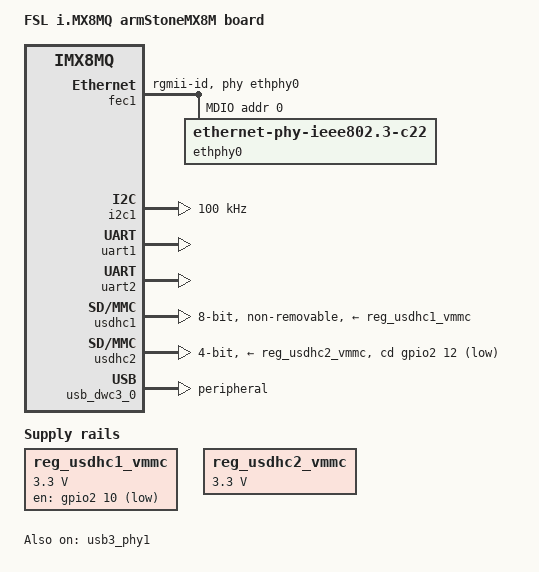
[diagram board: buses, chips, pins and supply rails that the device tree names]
/*
 * Copyright (C) 2016 Freescale Semiconductor, Inc.
 * Copyright 2017 NXP
 *
 * This program is free software; you can redistribute it and/or
 * modify it under the terms of the GNU General Public License
 * as published by the Free Software Foundation; either version 2
 * of the License, or (at your option) any later version.
 *
 * This program is distributed in the hope that it will be useful,
 * but WITHOUT ANY WARRANTY; without even the implied warranty of
 * MERCHANTABILITY or FITNESS FOR A PARTICULAR PURPOSE.  See the
 * GNU General Public License for more details.
 */

/dts-v1/;

/* First 128KB is for PSCI ATF. */
/memreserve/ 0x40000000 0x00020000;

#include "imx8mq.dtsi"

/ {
	model = "FSL i.MX8MQ armStoneMX8M board";
	compatible = "fus,armstonemx8m", "fsl,imx8mq";

	chosen {
		bootargs = "console=ttymxc1,115200 earlycon=ec_imx6q,0x30890000,115200";
		stdout-path = &uart2;
	};


		reg_usdhc1_vmmc: usdhc1_vmmc {
			compatible = "regulator-fixed";
			regulator-name = "VSD1-3V3";
			regulator-min-microvolt = <3300000>;
			regulator-max-microvolt = <3300000>;
			gpio = <&gpio2 10 GPIO_ACTIVE_HIGH>;
			regulator-always-on;
     		startup-delay-us = <100>;
	    	off-on-delay-us = <12000>;
		};

		reg_usdhc2_vmmc: usdhc2_vmmc {
			compatible = "regulator-fixed";
			regulator-name = "VSD2_3V3";
			regulator-min-microvolt = <3300000>;
			regulator-max-microvolt = <3300000>;
			enable-active-high;
     			startup-delay-us = <100>;
	    		off-on-delay-us = <12000>;
		};
};

&iomuxc {
	pinctrl-names = "default";

	armstonemx8m {
		
		/*  ENET - RGMII */
		pinctrl_fec1: fec1grp {
			fsl,pins = <
				MX8MQ_IOMUXC_ENET_MDC_ENET1_MDC		0x3
				MX8MQ_IOMUXC_ENET_MDIO_ENET1_MDIO	0x23
				MX8MQ_IOMUXC_ENET_TD3_ENET1_RGMII_TD3	0x1f
				MX8MQ_IOMUXC_ENET_TD2_ENET1_RGMII_TD2	0x1f
				MX8MQ_IOMUXC_ENET_TD1_ENET1_RGMII_TD1	0x1f
				MX8MQ_IOMUXC_ENET_TD0_ENET1_RGMII_TD0	0x1f
				MX8MQ_IOMUXC_ENET_RD3_ENET1_RGMII_RD3	0x91
				MX8MQ_IOMUXC_ENET_RD2_ENET1_RGMII_RD2	0x91
				MX8MQ_IOMUXC_ENET_RD1_ENET1_RGMII_RD1	0x91
				MX8MQ_IOMUXC_ENET_RD0_ENET1_RGMII_RD0	0x91
				MX8MQ_IOMUXC_ENET_TXC_ENET1_RGMII_TXC	0x1f
				MX8MQ_IOMUXC_ENET_RXC_ENET1_RGMII_RXC	0x91
				MX8MQ_IOMUXC_ENET_RX_CTL_ENET1_RGMII_RX_CTL	0x91
				MX8MQ_IOMUXC_ENET_TX_CTL_ENET1_RGMII_TX_CTL	0x1f
				MX8MQ_IOMUXC_GPIO1_IO02_GPIO1_IO2	0x19
				MX8MQ_IOMUXC_GPIO1_IO03_GPIO1_IO3	0x19
			>;
		};

		/* I2C1 - RTC, MIPI-DSI->LVDS, */
		pinctrl_i2c1: i2c1grp {
			fsl,pins = <
				MX8MQ_IOMUXC_I2C1_SCL_I2C1_SCL			0x4000007f
				MX8MQ_IOMUXC_I2C1_SDA_I2C1_SDA			0x4000007f
			>;
		};

		pinctrl_i2c2: i2c2grp {
			fsl,pins = <
				MX8MQ_IOMUXC_I2C2_SCL_I2C2_SCL			0x4000007f
				MX8MQ_IOMUXC_I2C2_SDA_I2C2_SDA			0x4000007f
			>;
		};

		/* UART1 on J14 connector */
		pinctrl_uart1: uart1grp {
			fsl,pins = <
				MX8MQ_IOMUXC_UART1_RXD_UART1_DCE_RX		0x79
				MX8MQ_IOMUXC_UART1_TXD_UART1_DCE_TX		0x79
			>;
		};

		pinctrl_uart2: uart2grp {
			fsl,pins = <
				MX8MQ_IOMUXC_UART2_RXD_UART2_DCE_RX		0x79
				MX8MQ_IOMUXC_UART2_TXD_UART2_DCE_TX		0x79
			>;
		};

		pinctrl_usdhc1: usdhc1grp {
			fsl,pins = <
				MX8MQ_IOMUXC_SD1_CLK_USDHC1_CLK			0x83
				MX8MQ_IOMUXC_SD1_CMD_USDHC1_CMD			0xc3
				MX8MQ_IOMUXC_SD1_DATA0_USDHC1_DATA0		0xc3
				MX8MQ_IOMUXC_SD1_DATA1_USDHC1_DATA1		0xc3
				MX8MQ_IOMUXC_SD1_DATA2_USDHC1_DATA2		0xc3
				MX8MQ_IOMUXC_SD1_DATA3_USDHC1_DATA3		0xc3
				MX8MQ_IOMUXC_SD1_DATA4_USDHC1_DATA4		0xc3
				MX8MQ_IOMUXC_SD1_DATA5_USDHC1_DATA5		0xc3
				MX8MQ_IOMUXC_SD1_DATA6_USDHC1_DATA6		0xc3
				MX8MQ_IOMUXC_SD1_DATA7_USDHC1_DATA7		0xc3
				MX8MQ_IOMUXC_SD1_STROBE_USDHC1_STROBE 		0x83
				MX8MQ_IOMUXC_SD1_RESET_B_USDHC1_RESET_B		0xc1
			>;
		};

		pinctrl_usdhc1_100mhz: usdhc1grp100mhz {
			fsl,pins = <
				MX8MQ_IOMUXC_SD1_CLK_USDHC1_CLK			0x8d
				MX8MQ_IOMUXC_SD1_CMD_USDHC1_CMD			0xcd
				MX8MQ_IOMUXC_SD1_DATA0_USDHC1_DATA0		0xcd
				MX8MQ_IOMUXC_SD1_DATA1_USDHC1_DATA1		0xcd
				MX8MQ_IOMUXC_SD1_DATA2_USDHC1_DATA2		0xcd
				MX8MQ_IOMUXC_SD1_DATA3_USDHC1_DATA3		0xcd
				MX8MQ_IOMUXC_SD1_DATA4_USDHC1_DATA4		0xcd
				MX8MQ_IOMUXC_SD1_DATA5_USDHC1_DATA5		0xcd
				MX8MQ_IOMUXC_SD1_DATA6_USDHC1_DATA6		0xcd
				MX8MQ_IOMUXC_SD1_DATA7_USDHC1_DATA7		0xcd
				MX8MQ_IOMUXC_SD1_STROBE_USDHC1_STROBE 		0x8d
				MX8MQ_IOMUXC_SD1_RESET_B_USDHC1_RESET_B		0xc1
			>;
		};

		pinctrl_usdhc1_200mhz: usdhc1grp200mhz {
			fsl,pins = <
				MX8MQ_IOMUXC_SD1_CLK_USDHC1_CLK			0x9f
				MX8MQ_IOMUXC_SD1_CMD_USDHC1_CMD			0xdf
				MX8MQ_IOMUXC_SD1_DATA0_USDHC1_DATA0		0xdf
				MX8MQ_IOMUXC_SD1_DATA1_USDHC1_DATA1		0xdf
				MX8MQ_IOMUXC_SD1_DATA2_USDHC1_DATA2		0xdf
				MX8MQ_IOMUXC_SD1_DATA3_USDHC1_DATA3		0xdf
				MX8MQ_IOMUXC_SD1_DATA4_USDHC1_DATA4		0xdf
				MX8MQ_IOMUXC_SD1_DATA5_USDHC1_DATA5		0xdf
				MX8MQ_IOMUXC_SD1_DATA6_USDHC1_DATA6		0xdf
				MX8MQ_IOMUXC_SD1_DATA7_USDHC1_DATA7		0xdf
				MX8MQ_IOMUXC_SD1_STROBE_USDHC1_STROBE 		0x9f
				MX8MQ_IOMUXC_SD1_RESET_B_USDHC1_RESET_B		0xc1
			>;
		};

		pinctrl_usdhc2_gpio: usdhc2grpgpio {
			fsl,pins = <
				MX8MQ_IOMUXC_SD2_CD_B_GPIO2_IO12	0x41
			>;
		};

		pinctrl_usdhc2: usdhc2grp {
			fsl,pins = <
				MX8MQ_IOMUXC_SD2_CLK_USDHC2_CLK			0x83
				MX8MQ_IOMUXC_SD2_CMD_USDHC2_CMD			0xc3
				MX8MQ_IOMUXC_SD2_DATA0_USDHC2_DATA0		0xc3
				MX8MQ_IOMUXC_SD2_DATA1_USDHC2_DATA1		0xc3
				MX8MQ_IOMUXC_SD2_DATA2_USDHC2_DATA2		0xc3
				MX8MQ_IOMUXC_SD2_DATA3_USDHC2_DATA3		0xc3
				MX8MQ_IOMUXC_GPIO1_IO04_USDHC2_VSELECT		0xc1
			>;
		};

		pinctrl_usdhc2_100mhz: usdhc2grp100mhz {
			fsl,pins = <
				MX8MQ_IOMUXC_SD2_CLK_USDHC2_CLK			0x85
				MX8MQ_IOMUXC_SD2_CMD_USDHC2_CMD			0xc5
				MX8MQ_IOMUXC_SD2_DATA0_USDHC2_DATA0		0xc5
				MX8MQ_IOMUXC_SD2_DATA1_USDHC2_DATA1		0xc5
				MX8MQ_IOMUXC_SD2_DATA2_USDHC2_DATA2		0xc5
				MX8MQ_IOMUXC_SD2_DATA3_USDHC2_DATA3		0xc5
			>;
		};

		pinctrl_usdhc2_200mhz: usdhc2grp200mhz {
			fsl,pins = <
				MX8MQ_IOMUXC_SD2_CLK_USDHC2_CLK			0x87
				MX8MQ_IOMUXC_SD2_CMD_USDHC2_CMD			0xc7
				MX8MQ_IOMUXC_SD2_DATA0_USDHC2_DATA0		0xc7
				MX8MQ_IOMUXC_SD2_DATA1_USDHC2_DATA1		0xc7
				MX8MQ_IOMUXC_SD2_DATA2_USDHC2_DATA2		0xc7
				MX8MQ_IOMUXC_SD2_DATA3_USDHC2_DATA3		0xc7
			>;
		};
	};
};

&fec1 {
	pinctrl-names = "default";
	pinctrl-0 = <&pinctrl_fec1>;
	phy-mode = "rgmii-id";
	phy-handle = <&ethphy0>;
	fsl,magic-packet;
	status = "okay";

	mdio {
		#address-cells = <1>;
		#size-cells = <0>;

		ethphy0: ethernet-phy@0 {
			compatible = "ethernet-phy-ieee802.3-c22";
			reg = <0>;
			at803x,led-act-blind-workaround;
			at803x,eee-disabled;
		};
	};
};

&i2c1 {
	clock-frequency = <100000>;
	pinctrl-names = "default";
	pinctrl-0 = <&pinctrl_i2c1>;
	status = "okay";
	/* RTC PCA8565 */
	/* SN65DSI84 - MIPI-DSI->LVDS Transmitter */
	/* Audio - SGTL5000 */
};

&i2c2 {
	clock-frequency = <100000>;
	pinctrl-names = "default";
	pinctrl-0 = <&pinctrl_i2c2>;
	status = "disabled";
        /* Touch J13 connector */
	/* LVDS - J10 connector */
};

/* UART1 on J14 connector */
&uart1 {
	pinctrl-names = "default";
	pinctrl-0 = <&pinctrl_uart1>;
	assigned-clocks = <&clk IMX8MQ_CLK_UART1>;
	assigned-clock-parents = <&clk IMX8MQ_CLK_25M>;
	status = "okay";
};

&uart2 {
	pinctrl-names = "default";
	pinctrl-0 = <&pinctrl_uart2>;
	assigned-clocks = <&clk IMX8MQ_CLK_UART2>;
	assigned-clock-parents = <&clk IMX8MQ_CLK_25M>;
	status = "okay";
};

&usdhc1 {
	pinctrl-names = "default", "state_100mhz", "state_200mhz";
	pinctrl-0 = <&pinctrl_usdhc1>;
	pinctrl-1 = <&pinctrl_usdhc1_100mhz>;
	pinctrl-2 = <&pinctrl_usdhc1_200mhz>;
	bus-width = <8>;
    vmmc-supply = <&reg_usdhc1_vmmc>;
	non-removable;
	status = "okay";
};

&usdhc2 {
	pinctrl-names = "default", "state_100mhz", "state_200mhz";
	pinctrl-0 = <&pinctrl_usdhc2>, <&pinctrl_usdhc2_gpio>;
	pinctrl-1 = <&pinctrl_usdhc2_100mhz>, <&pinctrl_usdhc2_gpio>;
	pinctrl-2 = <&pinctrl_usdhc2_200mhz>, <&pinctrl_usdhc2_gpio>;
	bus-width = <4>;
	cd-gpios = <&gpio2 12 GPIO_ACTIVE_LOW>;
        vmmc-supply = <&reg_usdhc2_vmmc>;
	status = "okay";
};

&usb3_phy0 {
	compatible = "simple-bus";
	status = "okay";
};

#if 0 //### Check if still required
&usb3_0 {
	status = "okay";
};
#endif

&usb_dwc3_0 {
	status = "okay";
	dr_mode = "peripheral";
	compatible = "fsl, imx8mq-dwc3";
};

/* USB Host */
&usb3_phy1 {
	status = "okay";
};

#if 0 //### Check if still required
&usb3_1 {
	compatible = "simple-bus";
	status = "okay";
};
#endif

&usb_dwc3_1 {
	status = "okay";
	dr_mode = "host";
	compatible = "simple-bus";
};

/*###
&gpu {
	status = "okay";
};

&vpu {
	status = "okay";
};
*/
